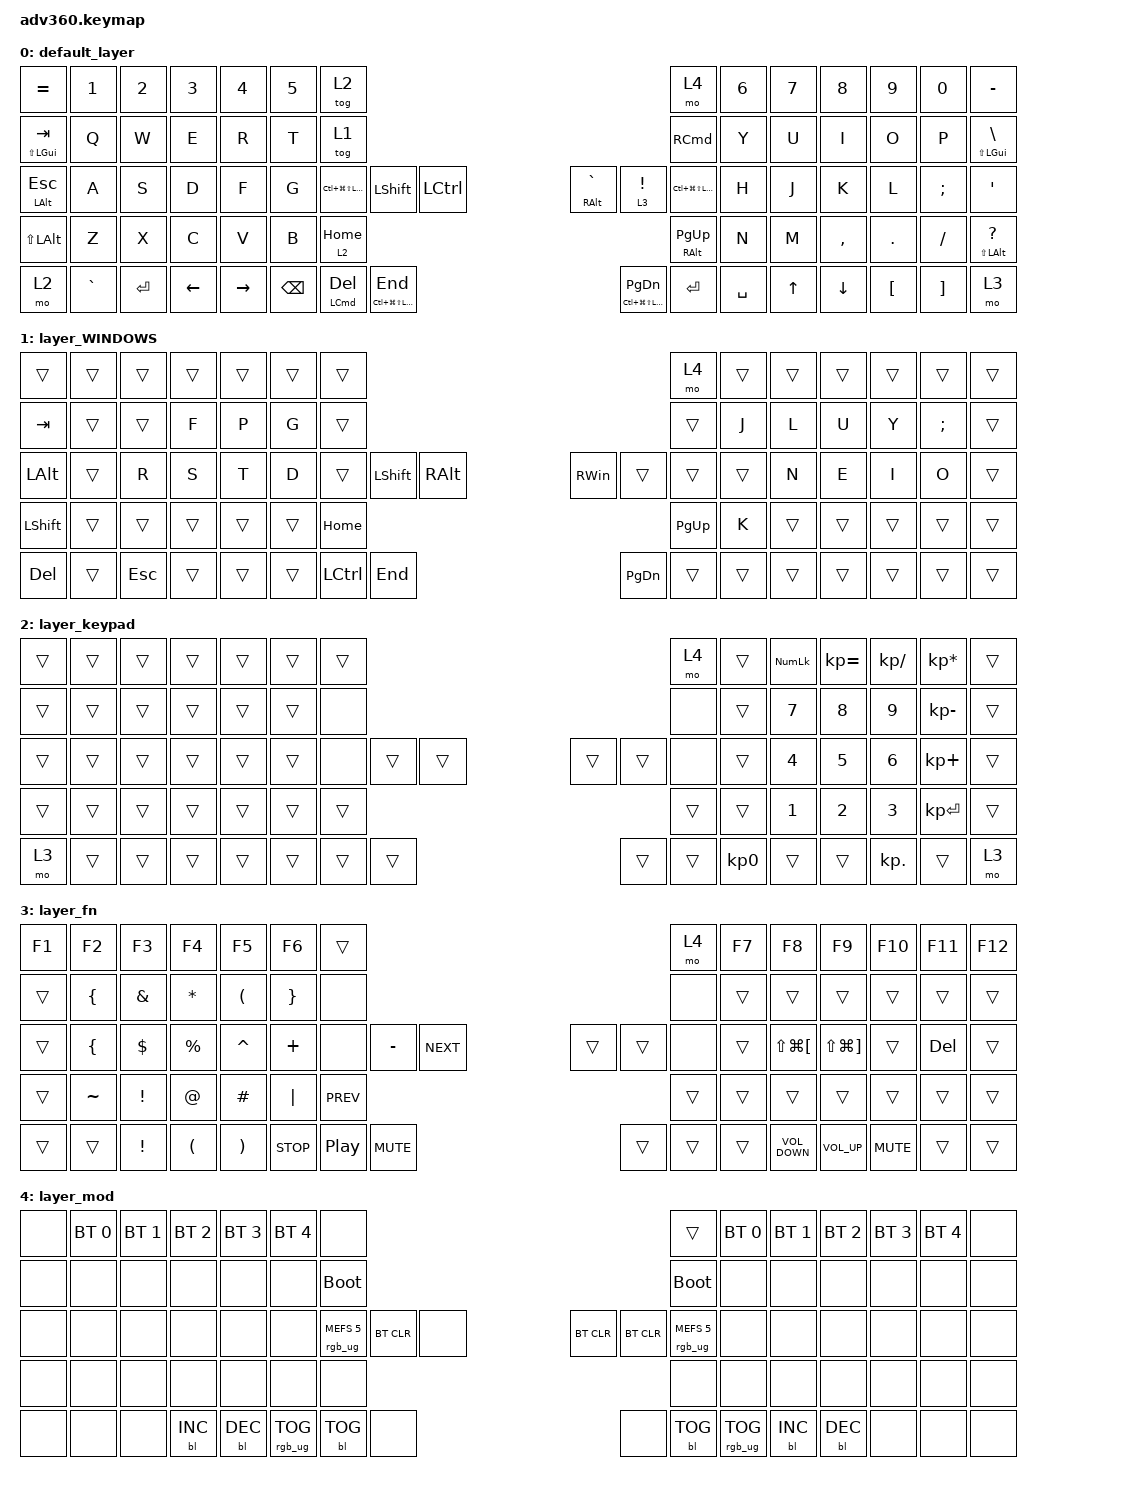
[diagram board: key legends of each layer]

/*
 * Copyright (c) 2020 The ZMK Contributors
 *
 * SPDX-License-Identifier: MIT
 */


/* THIS FILE WAS GENERATED!
 *
 * This file was generated automatically. You may or may not want to
 * edit it directly.
 */

#include <behaviors.dtsi>
#include <dt-bindings/zmk/keys.h>
#include <dt-bindings/zmk/bt.h>
#include <dt-bindings/zmk/rgb.h>
#include <dt-bindings/zmk/backlight.h>

/ {
  behaviors {
    #include "macros.dtsi"
    #include "version.dtsi"

    hm: homerow_mods {
        compatible = "zmk,behavior-hold-tap";
        label = "HOMEROW_MODS";
        #binding-cells = <2>;
        tapping-term-ms = <200>;
        quick_tap_ms = <175>;
        flavor = "tap-preferred";
        bindings = <&kp>, <&kp>;
    };
  };

    keymap {
        compatible = "zmk,keymap";


        default_layer {
            bindings = <
           &kp EQUAL     &kp N1     &kp N2    &kp N3     &kp N4  &kp N5                          &tog 2                                                                                                                               &mo 4  &kp N6  &kp N7     &kp N8    &kp N9         &kp N0               &kp MINUS
    &mt LS(LGUI) TAB      &kp Q      &kp W     &kp E      &kp R   &kp T                          &tog 1                                                                                                                            &kp RCMD   &kp Y   &kp U      &kp I     &kp O          &kp P  &mt LS(LGUI) BACKSLASH
 &mt LEFT_ALT ESCAPE      &kp A      &kp S     &kp D      &kp F   &kp G            &kp LC(LG(LS(LALT)))       &kp LSHIFT                 &kp LCTRL                                  &mt RALT GRAVE  &lt 3 EXCLAMATION  &kp LC(LG(LS(LALT)))   &kp H   &kp J      &kp K     &kp L  &kp SEMICOLON                 &kp SQT
        &kp LS(LALT)      &kp Z      &kp X     &kp C      &kp V   &kp B                                                                 &lt 2 HOME                                &mt RALT PAGE_UP                                            &kp N   &kp M  &kp COMMA   &kp DOT       &kp FSLH   &mt LS(LALT) QUESTION
               &mo 2  &kp GRAVE  &kp ENTER  &kp LEFT  &kp RIGHT                                &kp BSPC  &mt LCMD DELETE  &mt LC(LG(LS(LALT))) END                  &mt LC(LG(LS(LALT))) PAGE_DOWN          &kp ENTER             &kp SPACE          &kp UP   &kp DOWN  &kp LBKT       &kp RBKT                   &mo 3
            >;
        };

        layer_WINDOWS {
            bindings = <
         &trans  &trans      &trans  &trans  &trans  &trans            &trans                                                                    &mo 4  &trans  &trans  &trans  &trans         &trans  &trans
        &kp TAB  &trans      &trans   &kp F   &kp P   &kp G            &trans                                                                   &trans   &kp J   &kp L   &kp U   &kp Y  &kp SEMICOLON  &trans
       &kp LALT  &trans       &kp R   &kp S   &kp T   &kp D            &trans  &kp LEFT_SHIFT  &kp RALT                  &kp RIGHT_WIN  &trans  &trans  &trans   &kp N   &kp E   &kp I          &kp O  &trans
 &kp LEFT_SHIFT  &trans      &trans  &trans  &trans  &trans                                    &kp HOME                    &kp PAGE_UP                   &kp K  &trans  &trans  &trans         &trans  &trans
     &kp DELETE  &trans  &kp ESCAPE  &trans  &trans                    &trans       &kp LCTRL   &kp END                  &kp PAGE_DOWN  &trans  &trans          &trans  &trans  &trans         &trans  &trans
            >;
        };

        layer_keypad {
            bindings = <
 &trans  &trans  &trans  &trans  &trans  &trans            &trans                                                      &mo 4  &trans    &kp KP_NUM  &kp KP_EQUAL  &kp KP_DIVIDE  &kp KP_MULTIPLY  &trans
 &trans  &trans  &trans  &trans  &trans  &trans             &none                                                      &none  &trans  &kp NUMBER_7  &kp NUMBER_8   &kp NUMBER_9     &kp KP_MINUS  &trans
 &trans  &trans  &trans  &trans  &trans  &trans             &none  &trans  &trans                  &trans  &trans      &none  &trans  &kp NUMBER_4  &kp NUMBER_5   &kp NUMBER_6      &kp KP_PLUS  &trans
 &trans  &trans  &trans  &trans  &trans  &trans                            &trans                  &trans                     &trans  &kp NUMBER_1  &kp NUMBER_2   &kp NUMBER_3     &kp KP_ENTER  &trans
  &mo 3  &trans  &trans  &trans  &trans                    &trans  &trans  &trans                  &trans  &trans  &kp KP_N0                &trans        &trans     &kp KP_DOT           &trans   &mo 3
            >;
        };

        layer_fn {
            bindings = <
 &kp F1          &kp F2           &kp F3                &kp F4                 &kp F5           &kp F6                &trans                                                                 &mo 4  &kp F7             &kp F8            &kp F9     &kp F10     &kp F11  &kp F12
 &trans  &kp LEFT_BRACE    &kp AMPERSAND          &kp ASTERISK   &kp LEFT_PARENTHESIS  &kp RIGHT_BRACE                 &none                                                                 &none  &trans             &trans            &trans      &trans      &trans   &trans
 &trans  &kp LEFT_BRACE       &kp DOLLAR           &kp PERCENT              &kp CARET         &kp PLUS                 &none         &kp MINUS  &kp C_NEXT                  &trans  &trans   &none  &trans   &kp LS(LG(LBKT))  &kp LS(LG(RBKT))      &trans  &kp DELETE   &trans
 &trans       &kp TILDE  &kp EXCLAMATION           &kp AT_SIGN               &kp HASH         &kp PIPE                                          &kp C_PREV                  &trans                  &trans             &trans            &trans      &trans      &trans   &trans
 &trans          &trans         &kp EXCL  &kp LEFT_PARENTHESIS  &kp RIGHT_PARENTHESIS                             &kp C_STOP  &kp C_PLAY_PAUSE  &kp C_MUTE                  &trans  &trans  &trans          &kp C_VOLUME_DOWN      &kp C_VOL_UP  &kp C_MUTE      &trans   &trans
            >;
        };

        layer_mod {
            bindings = <
  &none  &bt BT_SEL 0  &bt BT_SEL 1  &bt BT_SEL 2  &bt BT_SEL 3  &bt BT_SEL 4                             &none                                                                              &trans  &bt BT_SEL 0  &bt BT_SEL 1  &bt BT_SEL 2  &bt BT_SEL 3  &bt BT_SEL 4   &none
  &none         &none         &none         &none         &none         &none                       &bootloader                                                                         &bootloader         &none         &none         &none         &none         &none   &none
  &none         &none         &none         &none         &none         &none            &rgb_ug RGB_MEFS_CMD 5  &bt BT_CLR   &none                  &bt BT_CLR  &bt BT_CLR  &rgb_ug RGB_MEFS_CMD 5         &none         &none         &none         &none         &none   &none
  &none         &none         &none         &none         &none         &none                                                 &none                       &none                                             &none         &none         &none         &none         &none   &none
  &none         &none         &none    &bl BL_INC    &bl BL_DEC                                 &rgb_ug RGB_TOG  &bl BL_TOG   &none                       &none  &bl BL_TOG         &rgb_ug RGB_TOG                  &bl BL_INC    &bl BL_DEC         &none         &none   &none
            >;
        };

    };
};
